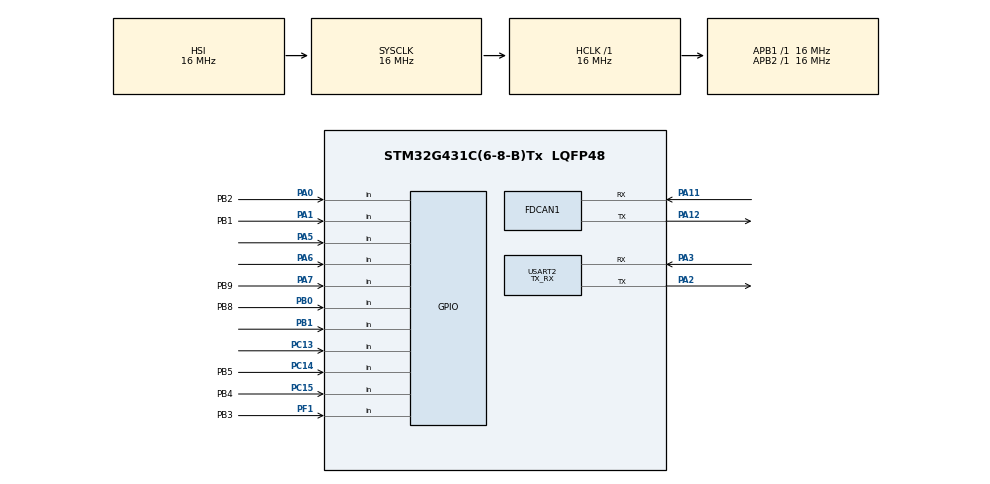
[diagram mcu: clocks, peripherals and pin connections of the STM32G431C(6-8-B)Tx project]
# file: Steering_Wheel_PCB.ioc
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FDCAN1.AutoRetransmission=DISABLE
FDCAN1.CalculateBaudRateNominal=1000000
FDCAN1.CalculateTimeBitNominal=1000
FDCAN1.CalculateTimeQuantumNominal=62.5
FDCAN1.ClockDivider=FDCAN_CLOCK_DIV1
FDCAN1.DataPrescaler=1
FDCAN1.DataSyncJumpWidth=3
FDCAN1.DataTimeSeg1=16
FDCAN1.DataTimeSeg2=3
FDCAN1.Mode=FDCAN_MODE_NORMAL
FDCAN1.NominalPrescaler=1
FDCAN1.NominalSyncJumpWidth=3
FDCAN1.NominalTimeSeg1=13
FDCAN1.NominalTimeSeg2=2
Mcu.Family=STM32G4
Mcu.Name=STM32G431C(6-8-B)Tx
Mcu.Package=LQFP48
NVIC.PriorityGroup=NVIC_PRIORITYGROUP_4
NVIC.TIM1_BRK_TIM15_IRQn=true\:0\:0\:false\:false\:true\:true\:true\:true
NVIC.TIM1_TRG_COM_TIM17_IRQn=true\:0\:0\:false\:false\:true\:true\:true\:true
NVIC.TIM1_UP_TIM16_IRQn=true\:0\:0\:false\:false\:true\:true\:true\:true
NVIC.TIM4_IRQn=true\:0\:0\:false\:false\:true\:true\:true\:true
PA0.GPIO_Label=PB2
PA0.Signal=GPIO_Input
PA1.GPIO_Label=PB1
PA1.Signal=GPIO_Input
PA11.Mode=FDCAN_Activate
PA11.Signal=FDCAN1_RX
PA12.Mode=FDCAN_Activate
PA12.Signal=FDCAN1_TX
PA13.Mode=Trace_Asynchronous_SW
PA13.Signal=SYS_JTMS-SWDIO
PA14.Mode=Trace_Asynchronous_SW
PA14.Signal=SYS_JTCK-SWCLK
PA2.Mode=Asynchronous
PA2.Signal=USART2_TX
PA3.Mode=Asynchronous
PA3.Signal=USART2_RX
PA5.Signal=GPIO_Input
PA6.Signal=GPIO_Input
PA7.GPIO_Label=PB9
PA7.Signal=GPIO_Input
PB0.GPIO_Label=PB8
PB0.Signal=GPIO_Input
PB1.Signal=GPIO_Input
PB3.Mode=Trace_Asynchronous_SW
PB3.Signal=SYS_JTDO-SWO
PC13.Signal=GPIO_Input
PC14-OSC32_IN.GPIO_Label=PB5
PC14-OSC32_IN.Signal=GPIO_Input
PC15-OSC32_OUT.GPIO_Label=PB4
PC15-OSC32_OUT.Signal=GPIO_Input
PF1-OSC_OUT.GPIO_Label=PB3
PF1-OSC_OUT.Signal=GPIO_Input
ProjectManager.HeapSize=0x200
ProjectManager.StackSize=0x400
ProjectManager.TargetToolchain=Makefile
RCC.ADC12Freq_Value=16000000
RCC.AHBFreq_Value=16000000
RCC.APB1Freq_Value=16000000
RCC.APB1TimFreq_Value=16000000
RCC.APB2Freq_Value=16000000
RCC.APB2TimFreq_Value=16000000
RCC.CortexFreq_Value=16000000
RCC.EXTERNAL_CLOCK_VALUE=12288000
RCC.HCLKFreq_Value=16000000
RCC.HSE_VALUE=8000000
RCC.HSI48_VALUE=48000000
RCC.HSI_VALUE=16000000
RCC.LSE_VALUE=32768
RCC.PLLN=10
RCC.PLLQ=RCC_PLLQ_DIV8
RCC.SYSCLKFreq_VALUE=16000000
RCC.USBFreq_Value=20000000
RCC.VCOOutputFreq_Value=160000000
TIM1.PeriodNoDither=1600-1
TIM1.TIM_MasterOutputTrigger=TIM_TRGO_UPDATE
TIM1.TIM_MasterOutputTrigger2=TIM_TRGO2_UPDATE
TIM4.PeriodNoDither=1280 - 1
TIM4.Prescaler=100 - 1
TIM4.TIM_MasterOutputTrigger=TIM_TRGO_UPDATE
USART2.Mode=MODE_TX_RX
USART2.VirtualMode-Asynchronous=VM_ASYNC
VP_SYS_VS_DBSignals.Mode=DisableDeadBatterySignals
VP_TIM1_VS_ClockSourceINT.Mode=Internal
VP_TIM4_VS_ClockSourceINT.Mode=Internal
board=custom

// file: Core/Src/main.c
/* USER CODE BEGIN Header */
/**
 ******************************************************************************
 * @file           : main.c
 * @brief          : Main program body
 ******************************************************************************
 * @attention
 *
 * Copyright (c) 2023 STMicroelectronics.
 * All rights reserved.
 *
 * This software is licensed under terms that can be found in the LICENSE file
 * in the root directory of this software component.
 * If no LICENSE file comes with this software, it is provided AS-IS.
 *
 ******************************************************************************
 */
/* USER CODE END Header */
#include "main.h"

/* USER CODE BEGIN Includes */
#include "stdio.h"
/* USER CODE END Includes */

FDCAN_HandleTypeDef hfdcan1;

TIM_HandleTypeDef htim1;
TIM_HandleTypeDef htim4;

UART_HandleTypeDef huart2;

/* USER CODE BEGIN PV */
// FDCAN_RxHeaderTypeDef RxHeader;
FDCAN_TxHeaderTypeDef TxHeader;
// FDCAN_RxHeaderTypeDef RxHeader;

uint8_t can_message_content[8];
uint8_t RxData[8];
/* USER CODE END PV */

void SystemClock_Config(void);
static void MX_GPIO_Init(void);
static void MX_FDCAN1_Init(void);
static void MX_TIM4_Init(void);
static void MX_TIM1_Init(void);
static void MX_USART2_UART_Init(void);

int main(void)
{

  /* MCU Configuration--------------------------------------------------------*/

  /* Reset of all peripherals, Initializes the Flash interface and the Systick. */
  HAL_Init();

  /* Configure the system clock */
  SystemClock_Config();

  /* Initialize all configured peripherals */
  MX_GPIO_Init();
  MX_FDCAN1_Init();
  MX_TIM4_Init();
  MX_TIM1_Init();
  MX_USART2_UART_Init();
  /* USER CODE BEGIN 2 */
  // Defining variables

  uint8_t button_inputs = 0x00;
  uint8_t paddle_inputs = 0x00;

  // Starting timers
  HAL_TIM_Base_Start_IT(&htim1);
  HAL_TIM_Base_Start_IT(&htim4);

  // Starting DMA
  /* USER CODE END 2 */

  /* Infinite loop */
  while (1)
  {

    /* USER CODE BEGIN 3 */
    // Connectors from right to left mapped to bits 0 through 7. J6 (last connector on the left) is unused.
    //| MSB:J10 | J12 | J7 | J9 | J11 | J13 | J5 | J8:LSB |
    button_inputs = 0x00;
    button_inputs = button_inputs | HAL_GPIO_ReadPin(GPIOC, GPIO_PIN_13);        // PB6, J8
    button_inputs = button_inputs | (HAL_GPIO_ReadPin(GPIOC, GPIO_PIN_14)) << 1; // PB5, J5
    button_inputs = button_inputs | (HAL_GPIO_ReadPin(GPIOC, GPIO_PIN_15)) << 2; // PB4, J13
    button_inputs = button_inputs | (HAL_GPIO_ReadPin(GPIOF, GPIO_PIN_1)) << 3;  // PB3, J11
    button_inputs = button_inputs | (HAL_GPIO_ReadPin(GPIOA, GPIO_PIN_0)) << 4;  // PB2, J9
    button_inputs = button_inputs | (HAL_GPIO_ReadPin(GPIOA, GPIO_PIN_1)) << 5;  // PB1, J7
    button_inputs = button_inputs | (HAL_GPIO_ReadPin(GPIOA, GPIO_PIN_7)) << 6;  // PB9, J12
    button_inputs = button_inputs | (HAL_GPIO_ReadPin(GPIOB, GPIO_PIN_0)) << 7;  // PB8, J10

    paddle_inputs = 0x00;
    paddle_inputs = paddle_inputs | HAL_GPIO_ReadPin(GPIOA, GPIO_PIN_5);        // PA5, J1
    paddle_inputs = paddle_inputs | (HAL_GPIO_ReadPin(GPIOA, GPIO_PIN_6)) << 1; // PA6, J2
    paddle_inputs = paddle_inputs | (HAL_GPIO_ReadPin(GPIOB, GPIO_PIN_1)) << 2; // PB7

    // Defining CAN message to be sent
    can_message_content[0] = button_inputs;
    can_message_content[1] = paddle_inputs;
    can_message_content[2] = 0x00;
    can_message_content[3] = 0x00;
    can_message_content[4] = 0x00;
    can_message_content[5] = 0x00;
    can_message_content[6] = 0x00;
    can_message_content[7] = 0x00;

    // HAL_Delay(8);
  }
  /* USER CODE END 3 */
}

void SystemClock_Config(void)
{
  RCC_OscInitTypeDef RCC_OscInitStruct = {0};
  RCC_ClkInitTypeDef RCC_ClkInitStruct = {0};

  /** Configure the main internal regulator output voltage
  */
  HAL_PWREx_ControlVoltageScaling(PWR_REGULATOR_VOLTAGE_SCALE1);

  /** Initializes the RCC Oscillators according to the specified parameters
  * in the RCC_OscInitTypeDef structure.
  */
  RCC_OscInitStruct.OscillatorType = RCC_OSCILLATORTYPE_HSI;
  RCC_OscInitStruct.HSIState = RCC_HSI_ON;
  RCC_OscInitStruct.HSICalibrationValue = RCC_HSICALIBRATION_DEFAULT;
  RCC_OscInitStruct.PLL.PLLState = RCC_PLL_NONE;
  if (HAL_RCC_OscConfig(&RCC_OscInitStruct) != HAL_OK)
  {
    Error_Handler();
  }

  /** Initializes the CPU, AHB and APB buses clocks
  */
  RCC_ClkInitStruct.ClockType = RCC_CLOCKTYPE_HCLK|RCC_CLOCKTYPE_SYSCLK
                              |RCC_CLOCKTYPE_PCLK1|RCC_CLOCKTYPE_PCLK2;
  RCC_ClkInitStruct.SYSCLKSource = RCC_SYSCLKSOURCE_HSI;
  RCC_ClkInitStruct.AHBCLKDivider = RCC_SYSCLK_DIV1;
  RCC_ClkInitStruct.APB1CLKDivider = RCC_HCLK_DIV1;
  RCC_ClkInitStruct.APB2CLKDivider = RCC_HCLK_DIV1;

  if (HAL_RCC_ClockConfig(&RCC_ClkInitStruct, FLASH_LATENCY_0) != HAL_OK)
  {
    Error_Handler();
  }
}

static void MX_FDCAN1_Init(void)
{

  hfdcan1.Instance = FDCAN1;
  hfdcan1.Init.ClockDivider = FDCAN_CLOCK_DIV1;
  hfdcan1.Init.FrameFormat = FDCAN_FRAME_CLASSIC;
  hfdcan1.Init.Mode = FDCAN_MODE_NORMAL;
  hfdcan1.Init.AutoRetransmission = DISABLE;
  hfdcan1.Init.TransmitPause = DISABLE;
  hfdcan1.Init.ProtocolException = DISABLE;
  hfdcan1.Init.NominalPrescaler = 1;
  hfdcan1.Init.NominalSyncJumpWidth = 3;
  hfdcan1.Init.NominalTimeSeg1 = 13;
  hfdcan1.Init.NominalTimeSeg2 = 2;
  hfdcan1.Init.DataPrescaler = 1;
  hfdcan1.Init.DataSyncJumpWidth = 3;
  hfdcan1.Init.DataTimeSeg1 = 16;
  hfdcan1.Init.DataTimeSeg2 = 3;
  hfdcan1.Init.StdFiltersNbr = 0;
  hfdcan1.Init.ExtFiltersNbr = 0;
  hfdcan1.Init.TxFifoQueueMode = FDCAN_TX_FIFO_OPERATION;
  if (HAL_FDCAN_Init(&hfdcan1) != HAL_OK)
  {
    Error_Handler();
  }
  /* USER CODE BEGIN FDCAN1_Init 2 */
  // FDCAN_FilterTypeDef sFilterConfig;

  // /* Configure Rx filter */
  // sFilterConfig.IdType = FDCAN_STANDARD_ID;
  // sFilterConfig.FilterIndex = 0;
  // sFilterConfig.FilterType = FDCAN_FILTER_MASK;
  // sFilterConfig.FilterConfig = FDCAN_FILTER_TO_RXFIFO0;
  // sFilterConfig.FilterID1 = 0x321;
  // sFilterConfig.FilterID2 = 0x7FF;
  // if (HAL_FDCAN_ConfigFilter(&hfdcan1, &sFilterConfig) != HAL_OK)
  // {
  //   Error_Handler();
  // }

  // /* Configure global filter:
  //    Filter all remote frames with STD and EXT ID
  //    Reject non matching frames with STD ID and EXT ID */
  // if (HAL_FDCAN_ConfigGlobalFilter(&hfdcan1, FDCAN_REJECT, FDCAN_REJECT, FDCAN_FILTER_REMOTE, FDCAN_FILTER_REMOTE) != HAL_OK)
  // {
  //   Error_Handler();
  // }

  // /* Start the FDCAN module */
  if (HAL_FDCAN_Start(&hfdcan1) != HAL_OK)
  {
    Error_Handler();
  }

  // /* Prepare Tx Header */
  TxHeader.Identifier = 0x680; // Determines ID of CAN message
  TxHeader.IdType = FDCAN_STANDARD_ID;
  TxHeader.TxFrameType = FDCAN_DATA_FRAME;
  TxHeader.DataLength = FDCAN_DLC_BYTES_8; // Specifies the number of data bytes to be transmitted
  TxHeader.ErrorStateIndicator = FDCAN_ESI_ACTIVE;
  TxHeader.BitRateSwitch = FDCAN_BRS_OFF;
  TxHeader.FDFormat = FDCAN_CLASSIC_CAN;
  TxHeader.TxEventFifoControl = FDCAN_NO_TX_EVENTS;
  TxHeader.MessageMarker = 0;
  /* USER CODE END FDCAN1_Init 2 */

}

static void MX_TIM1_Init(void)
{

  TIM_ClockConfigTypeDef sClockSourceConfig = {0};
  TIM_MasterConfigTypeDef sMasterConfig = {0};

  htim1.Instance = TIM1;
  htim1.Init.Prescaler = 0;
  htim1.Init.CounterMode = TIM_COUNTERMODE_UP;
  htim1.Init.Period = 1599;
  htim1.Init.ClockDivision = TIM_CLOCKDIVISION_DIV1;
  htim1.Init.RepetitionCounter = 0;
  htim1.Init.AutoReloadPreload = TIM_AUTORELOAD_PRELOAD_DISABLE;
  if (HAL_TIM_Base_Init(&htim1) != HAL_OK)
  {
    Error_Handler();
  }
  sClockSourceConfig.ClockSource = TIM_CLOCKSOURCE_INTERNAL;
  if (HAL_TIM_ConfigClockSource(&htim1, &sClockSourceConfig) != HAL_OK)
  {
    Error_Handler();
  }
  sMasterConfig.MasterOutputTrigger = TIM_TRGO_UPDATE;
  sMasterConfig.MasterOutputTrigger2 = TIM_TRGO2_UPDATE;
  sMasterConfig.MasterSlaveMode = TIM_MASTERSLAVEMODE_DISABLE;
  if (HAL_TIMEx_MasterConfigSynchronization(&htim1, &sMasterConfig) != HAL_OK)
  {
    Error_Handler();
  }

}

static void MX_TIM4_Init(void)
{

  TIM_ClockConfigTypeDef sClockSourceConfig = {0};
  TIM_MasterConfigTypeDef sMasterConfig = {0};

  htim4.Instance = TIM4;
  htim4.Init.Prescaler = 100 - 1;
  htim4.Init.CounterMode = TIM_COUNTERMODE_UP;
  htim4.Init.Period = 1279;
  htim4.Init.ClockDivision = TIM_CLOCKDIVISION_DIV1;
  htim4.Init.AutoReloadPreload = TIM_AUTORELOAD_PRELOAD_DISABLE;
  if (HAL_TIM_Base_Init(&htim4) != HAL_OK)
  {
    Error_Handler();
  }
  sClockSourceConfig.ClockSource = TIM_CLOCKSOURCE_INTERNAL;
  if (HAL_TIM_ConfigClockSource(&htim4, &sClockSourceConfig) != HAL_OK)
  {
    Error_Handler();
  }
  sMasterConfig.MasterOutputTrigger = TIM_TRGO_UPDATE;
  sMasterConfig.MasterSlaveMode = TIM_MASTERSLAVEMODE_DISABLE;
  if (HAL_TIMEx_MasterConfigSynchronization(&htim4, &sMasterConfig) != HAL_OK)
  {
    Error_Handler();
  }

}

static void MX_USART2_UART_Init(void)
{

  huart2.Instance = USART2;
  huart2.Init.BaudRate = 115200;
  huart2.Init.WordLength = UART_WORDLENGTH_8B;
  huart2.Init.StopBits = UART_STOPBITS_1;
  huart2.Init.Parity = UART_PARITY_NONE;
  huart2.Init.Mode = UART_MODE_TX_RX;
  huart2.Init.HwFlowCtl = UART_HWCONTROL_NONE;
  huart2.Init.OverSampling = UART_OVERSAMPLING_16;
  huart2.Init.OneBitSampling = UART_ONE_BIT_SAMPLE_DISABLE;
  huart2.Init.ClockPrescaler = UART_PRESCALER_DIV1;
  huart2.AdvancedInit.AdvFeatureInit = UART_ADVFEATURE_NO_INIT;
  if (HAL_UART_Init(&huart2) != HAL_OK)
  {
    Error_Handler();
  }
  if (HAL_UARTEx_SetTxFifoThreshold(&huart2, UART_TXFIFO_THRESHOLD_1_8) != HAL_OK)
  {
    Error_Handler();
  }
  if (HAL_UARTEx_SetRxFifoThreshold(&huart2, UART_RXFIFO_THRESHOLD_1_8) != HAL_OK)
  {
    Error_Handler();
  }
  if (HAL_UARTEx_DisableFifoMode(&huart2) != HAL_OK)
  {
    Error_Handler();
  }
  /* USER CODE BEGIN USART2_Init 2 */
  printf("\n\r UART Printf Example: retarget the C library printf function to the UART\n\r");
  printf("** Test finished successfully. ** \n\r");

  /* USER CODE END USART2_Init 2 */

}

static void MX_GPIO_Init(void)
{
  GPIO_InitTypeDef GPIO_InitStruct = {0};

  /* GPIO Ports Clock Enable */
  __HAL_RCC_GPIOC_CLK_ENABLE();
  __HAL_RCC_GPIOF_CLK_ENABLE();
  __HAL_RCC_GPIOA_CLK_ENABLE();
  __HAL_RCC_GPIOB_CLK_ENABLE();

  /*Configure GPIO pins : PC13 PB5_Pin PB4_Pin */
  GPIO_InitStruct.Pin = GPIO_PIN_13|PB5_Pin|PB4_Pin;
  GPIO_InitStruct.Mode = GPIO_MODE_INPUT;
  GPIO_InitStruct.Pull = GPIO_NOPULL;
  HAL_GPIO_Init(GPIOC, &GPIO_InitStruct);

  /*Configure GPIO pin : PB3_Pin */
  GPIO_InitStruct.Pin = PB3_Pin;
  GPIO_InitStruct.Mode = GPIO_MODE_INPUT;
  GPIO_InitStruct.Pull = GPIO_NOPULL;
  HAL_GPIO_Init(PB3_GPIO_Port, &GPIO_InitStruct);

  /*Configure GPIO pins : PB2_Pin PB1_Pin PA5 PA6
                           PB9_Pin */
  GPIO_InitStruct.Pin = PB2_Pin|PB1_Pin|GPIO_PIN_5|GPIO_PIN_6
                          |PB9_Pin;
  GPIO_InitStruct.Mode = GPIO_MODE_INPUT;
  GPIO_InitStruct.Pull = GPIO_NOPULL;
  HAL_GPIO_Init(GPIOA, &GPIO_InitStruct);

  /*Configure GPIO pins : PB8_Pin PB1 */
  GPIO_InitStruct.Pin = PB8_Pin|GPIO_PIN_1;
  GPIO_InitStruct.Mode = GPIO_MODE_INPUT;
  GPIO_InitStruct.Pull = GPIO_NOPULL;
  HAL_GPIO_Init(GPIOB, &GPIO_InitStruct);

}

/* USER CODE BEGIN 4 */

// updates the CAN TX FIFO precisely every 8ms
void HAL_TIM_PeriodElapsedCallback(TIM_HandleTypeDef *htim)
{
  // Checks that the interrupt was generated by clock 4
  if (htim == &htim4)
  {
    // Adds another message to the CAN FIFO every 8ms
    HAL_FDCAN_AddMessageToTxFifoQ(&hfdcan1, &TxHeader, can_message_content);
  }
  if (htim == &htim1)
  {
    // HAL_GPIO_TogglePin(GPIOC, GPIO_PIN_13);
  }
}

int _write(int fd, char *ptr, int len)
{
  HAL_UART_Transmit(&huart2, (uint8_t *)ptr, len, HAL_MAX_DELAY);
  return len;
}

// void HAL_FDCAN_RxFifo0Callback(FDCAN_HandleTypeDef *hfdcan, uint32_t RxFifo0ITs)
// {
//   if ((RxFifo0ITs & FDCAN_IT_RX_FIFO0_NEW_MESSAGE) != RESET)
//   {
//     /* Retrieve Rx messages from RX FIFO0 */
//     if (HAL_FDCAN_GetRxMessage(hfdcan, FDCAN_RX_FIFO0, &RxHeader, RxData) != HAL_OK)
//     {
//       Error_Handler();
//     }
//     printf("\nThis message has been recieved");
//   }
// }

/* USER CODE END 4 */

void Error_Handler(void)
{
  /* USER CODE BEGIN Error_Handler_Debug */
  /* User can add his own implementation to report the HAL error return state */
  __disable_irq();
  printf("Error Encountered!\n");
  while (1)
  {
  }
  /* USER CODE END Error_Handler_Debug */
}
